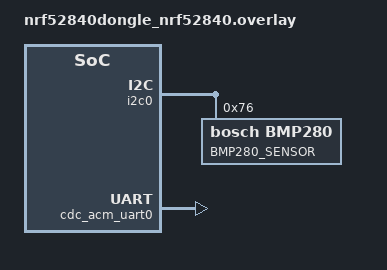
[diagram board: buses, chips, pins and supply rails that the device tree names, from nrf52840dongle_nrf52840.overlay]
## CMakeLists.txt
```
# SPDX-License-Identifier: Apache-2.0

cmake_minimum_required(VERSION 3.20.0)
find_package(Zephyr REQUIRED HINTS $ENV{ZEPHYR_BASE})
project(bmp280)

FILE(GLOB app_sources src/*.c)
target_sources(app PRIVATE ${app_sources})
```

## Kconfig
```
# Copyright (c) 2020, Nordic Semiconductor ASA
# SPDX-License-Identifier: Apache-2.0

config LOG
	default y

config LOG_PRINTK
	default y

config SENSOR_LOG_LEVEL
	default 4

config I2C
	default y

config USB_DEVICE_PID
	default USB_PID_CONSOLE_SAMPLE

source "Kconfig.zephyr"

menu "Zephyr Kernel"
endmenu

#module = OT_COMMAND_LINE_INTERFACE
#module-str = ot_cli
#source "${ZEPHYR_BASE}/subsys/logging/Kconfig.template.log_config"
```

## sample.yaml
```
sample:
  name: BMP280 Sensor sample
tests:
  sample.sensor.bmp280:
    harness: console
    tags: sensors
    platform_allow: nrf52840dongle_nrf52840
    integration_platforms:
      - nrf52840dongle_nrf52840
    harness_config:
        type: one_line
        regex:
            - "temp: (.*); press: (.*); humidity: (.*)"
        fixture: fixture_i2c_bmp280
  sample.sensor.bmp280.i2c:
    harness: console
    tags: sensors
    depends_on: i2c bmp280
    extra_args: "DTC_OVERLAY_FILE=nrf52840dongle_nrf52840.overlay"
    harness_config:
        type: one_line
        regex:
            - "temp: (.*); press: (.*); humidity: (.*)"
        fixture: fixture_i2c_bmp280
  sample.usb.console:
    depends_on: usb_device usb_cdc
    tags: usb
    platform_exclude: native_posix native_posix_64
    harness: console
    harness_config:
      fixture: fixture_usb_cdc
```

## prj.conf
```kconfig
CONFIG_USB_DEVICE_STACK=y
CONFIG_USB_DEVICE_PRODUCT="Zephyr USB console sample"

CONFIG_SERIAL=y
CONFIG_CONSOLE=y
CONFIG_UART_CONSOLE=y
CONFIG_UART_LINE_CTRL=y





CONFIG_SENSOR=y
CONFIG_BMP280=y






CONFIG_LOG=y
CONFIG_I2C=y

CONFIG_GPIO=y
```

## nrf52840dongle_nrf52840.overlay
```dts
// To get started, press Ctrl+Space to bring up the completion menu and view the available nodes.

// You can also use the buttons in the sidebar to perform actions on nodes.
// Actions currently available include:

// * Enabling / disabling the node
// * Adding the bus to a bus
// * Removing the node
// * Connecting ADC channels

// For more help, browse the DeviceTree documentation at https://docs.zephyrproject.org/latest/guides/dts/index.html
// You can also visit the nRF DeviceTree extension documentation at https://nrfconnect.github.io/vscode-nrf-connect/devicetree/nrfdevicetree.html
&i2c0 {
	bmp280: bmp280@76 {
		/* 0x76 - SDO <-> GND */
		/* 0x77 - SDO <-> VCC */
		compatible = "bosch,bmp280";
		reg = <0x76>;
		label = "BMP280_SENSOR";
	};
};
&zephyr_udc0 {
	cdc_acm_uart0: cdc_acm_uart0 {
		compatible = "zephyr,cdc-acm-uart";
		label = "CDC_ACM_0";
	};
};

/ {
	/*
	* In some default configurations within the nRF Connect SDK,
	* e.g. on nRF52840, the chosen zephyr,entropy node is &cryptocell.
	* This devicetree overlay ensures that default is overridden wherever it
	* is set, as this application uses the RNG node for entropy exclusively.
	*/
	chosen {
		zephyr,entropy = &rng;
        zephyr,console = &cdc_acm_uart0;
	};
};
```

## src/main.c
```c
#include <zephyr.h>
#include <device.h>
#include <devicetree.h>
#include <drivers/sensor.h>



#include <usb/usb_device.h>
#include <drivers/uart.h>

#include <drivers/gpio.h>
#include <sys/util.h>
#include <sys/printk.h>
#include <inttypes.h>

/* 1000 msec = 1 sec */
#define SLEEP_TIME_MS   1000
#define LED0_NODE DT_ALIAS(led0)

static const struct gpio_dt_spec led = GPIO_DT_SPEC_GET(LED0_NODE, gpios);

static const struct device *get_bmp280_device(void)
{
	//const struct device *dev = DEVICE_DT_GET_ANY(bosch_bmp280);
    const struct device *dev = device_get_binding(DT_LABEL(DT_INST(0, bosch_bmp280)));

	if (dev == NULL) {
		printk("\nError: no device found.\n");
		return NULL;
	}

	if (!device_is_ready(dev)) {
		printk("\nError: Device \"%s\" is not ready; "
		       "check the driver initialization logs for errors.\n",
		       dev->name);
		return NULL;
	}

	printk("Found device \"%s\", getting sensor data\n", dev->name);
	return dev;
}

void main(void)
{

	struct sensor_value temp, press, humidity;


	const struct device *dev_console = DEVICE_DT_GET(DT_CHOSEN(zephyr_console));
	uint32_t dtr = 0;

    gpio_pin_configure_dt(&led, GPIO_OUTPUT);

	if (usb_enable(NULL)) {
		return;
	}

	/* Poll if the DTR flag was set */
	while (!dtr) {
		uart_line_ctrl_get(dev_console, UART_LINE_CTRL_DTR, &dtr);
		/* Give CPU resources to low priority threads. */
		k_sleep(K_MSEC(100));
	}






	const struct device *dev = get_bmp280_device();
	if (dev == NULL) {
        printk("Eroorasdfsd");
		return;
	}
    int val = 0;
	while (1) {
		gpio_pin_set_dt(&led, val);
        if (val == 0) {
            val = 1;
        }else {
            val = 0;
        }


		sensor_sample_fetch(dev);
		sensor_channel_get(dev, SENSOR_CHAN_AMBIENT_TEMP, &temp);
		sensor_channel_get(dev, SENSOR_CHAN_PRESS, &press);
		sensor_channel_get(dev, SENSOR_CHAN_HUMIDITY, &humidity);

		printk("temp: %d.%06d; press: %d.%06d; humidity: %d.%06d\n",
		      temp.val1, temp.val2, press.val1, press.val2,
		      humidity.val1, humidity.val2);

       // printk("Hello World! %s\n", CONFIG_ARCH);
		k_sleep(K_MSEC(1000));
	}
}
```
